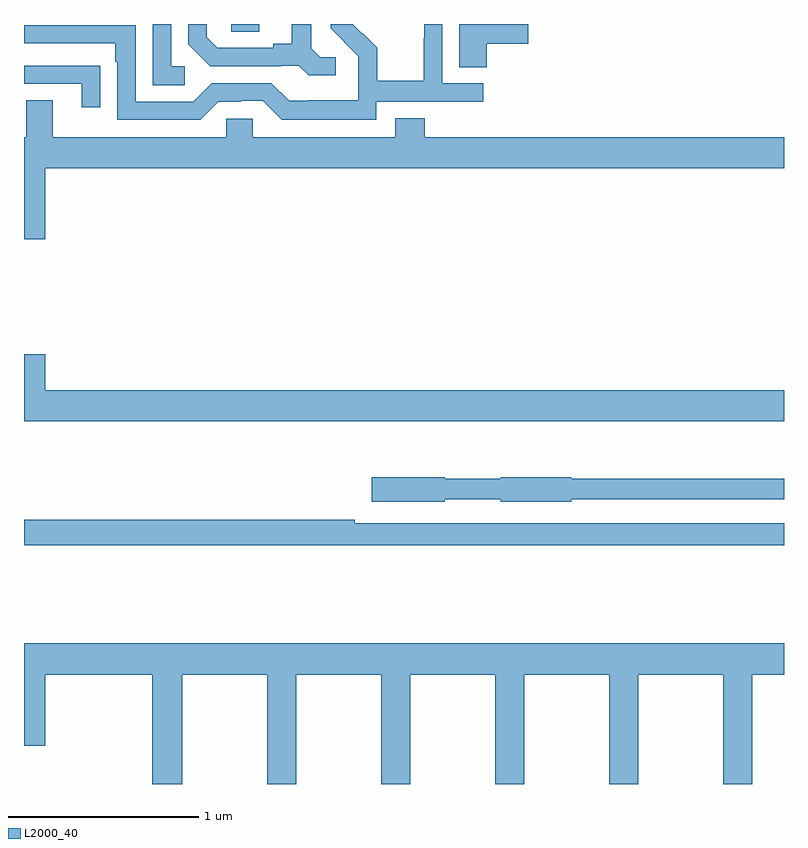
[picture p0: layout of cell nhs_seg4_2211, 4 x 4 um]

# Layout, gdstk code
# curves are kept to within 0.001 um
import gdstk
lib = gdstk.Library(unit=1e-6, precision=1e-09)
def R(c, l, rs):  # rectangles x0, y0, x1, y1
    for r in rs: c.add(gdstk.rectangle(r[:2], r[2:], *l))
def P(c, l, *ps):  # polygons
    for p in ps: c.add(gdstk.Polygon(p, *l))
L2000_40 = (2000, 40)

nhs_seg4_2211 = lib.new_cell('nhs_seg4_2211')
R(nhs_seg4_2211, L2000_40, [(226.092,810.859,226.237,810.9)])
P(nhs_seg4_2211, L2000_40, [(226.642,810.726),(226.56,810.726),(226.513,810.773),(226.513,810.9),(226.409,810.9),(226.409,810.797),(226.313,810.797),(226.313,810.774),(226.018,810.774),(225.961,810.831),(225.961,810.9),(225.864,810.9),(225.864,810.794),(225.98,810.678),(226.352,810.678),(226.352,810.681),(226.446,810.681),(226.498,810.629),(226.642,810.629)],
  [(227.435,810.797),(227.653,810.797),(227.653,810.9),(227.291,810.9),(227.291,810.673),(227.435,810.673)],
  [(225.847,810.678),(225.774,810.678),(225.774,810.9),(225.678,810.9),(225.678,810.577),(225.847,810.577)],
  [(226.854,810.492),(227.416,810.492),(227.416,810.588),(227.202,810.588),(227.202,810.9),(227.106,810.9),(227.106,810.824),(227.104,810.824),(227.104,810.601),(226.859,810.601),(226.859,810.775),(226.782,810.852),(226.779,810.849),(226.729,810.9),(226.614,810.9),(226.614,810.878),(226.76,810.73),(226.76,810.633),(226.758,810.633),(226.758,810.499),(226.495,810.499),(226.495,810.495),(226.395,810.495),(226.302,810.588),(225.987,810.588),(225.891,810.492),(225.588,810.492),(225.588,810.894),(225,810.894),(225,810.798),(225.479,810.798),(225.479,810.701),(225.492,810.701),(225.492,810.396),(225.927,810.396),(226.023,810.492),(226.142,810.492),(226.142,810.495),(226.257,810.495),(226.357,810.395),(226.854,810.395)],
  [(225.401,810.68),(225.299,810.68),(225.299,810.681),(225,810.681),(225,810.585),(225.305,810.585),(225.305,810.462),(225.401,810.462)],
  [(225.112,810.14),(229,810.14),(229,810.304),(227.108,810.304),(227.108,810.403),(226.955,810.403),(226.955,810.304),(226.203,810.304),(226.203,810.402),(226.065,810.402),(226.065,810.304),(225.151,810.304),(225.151,810.499),(225.011,810.499),(225.011,810.304),(225,810.304),(225,809.766),(225.112,809.766)],
  [(229,808.972),(225.112,808.972),(225.112,809.161),(225,809.161),(225,808.808),(229,808.808)],
  [(227.214,808.398),(227.508,808.398),(227.508,808.385),(227.88,808.385),(227.88,808.398),(229,808.398),(229,808.507),(227.88,808.507),(227.88,808.515),(227.508,808.515),(227.508,808.507),(227.214,808.507),(227.214,808.515),(226.83,808.515),(226.83,808.385),(227.214,808.385)],
  [(229,808.272),(226.742,808.272),(226.742,808.292),(225,808.292),(225,808.156),(229,808.156)],
  [(225.834,807.476),(226.279,807.476),(226.279,806.9),(226.434,806.9),(226.434,807.476),(226.879,807.476),(226.879,806.9),(227.034,806.9),(227.034,807.476),(227.479,807.476),(227.479,806.9),(227.634,806.9),(227.634,807.476),(228.079,807.476),(228.079,806.9),(228.234,806.9),(228.234,807.476),(228.679,807.476),(228.679,806.9),(228.834,806.9),(228.834,807.476),(229,807.476),(229,807.64),(225,807.64),(225,807.102),(225.112,807.102),(225.112,807.476),(225.674,807.476),(225.674,806.9),(225.834,806.9)])

lib.write_gds('nhs_seg4_2211.gds')
